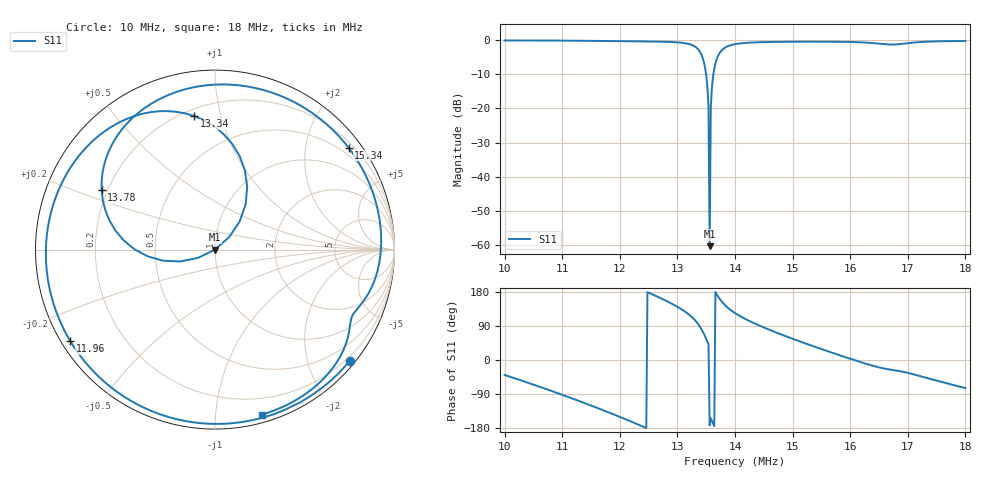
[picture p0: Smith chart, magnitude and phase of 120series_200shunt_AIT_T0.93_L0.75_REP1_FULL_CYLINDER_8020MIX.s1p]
! NanoVNA Web complex sweep
! Processing: original sample grid, no browser smoothing
# Hz S RI R 50
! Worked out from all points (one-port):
!   401 points, 10 MHz to 18 MHz, reference 50 ohm
!   lowest |S11| = -60.2 dB at 13.56 MHz (marker M1), VSWR 1.00, Z = 49.9 - j0.0127 ohm
!   |S11| at or under -10 dB: 13.5 MHz to 13.63 MHz (128.6 kHz wide, 0.948 % of centre)
!   S11 on the Smith chart (normalised r, x): 10 MHz: 0.11, -2.78; 11.96 MHz: 0.03, -0.29; 13.34 MHz: 0.24, +0.83; 13.78 MHz: 0.18, +0.24; 15.34 MHz: 0.32, +2.93; 18 MHz: 0.06, -1.32
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1e7  0.7516 -0.6197
1.056e7  0.3631 -0.9032
1.1e7  -0.0308 -0.9704
1.148e7  -0.4671 -0.8433
1.196e7  -0.8057 -0.5109
1.2e7  -0.826 -0.4752
1.254e7  -0.9368 0.0806
1.3e7  -0.7047 0.5823
1.322e7  -0.3946 0.7591
1.334e7  -0.1146 0.7436
1.342e7  0.096 0.5887
1.348e7  0.1795 0.3485
1.35e7  0.1706 0.2515
1.352e7  0.1368 0.1556
1.356e7  -0.000965 -0.000128
1.36e7  -0.1933 -0.0661
1.362e7  -0.2892 -0.0618
1.364e7  -0.3761 -0.0372
1.37e7  -0.5563 0.1082
1.378e7  -0.6317 0.3318
1.4e7  -0.4788 0.7148
1.444e7  0.0046 0.9194
1.5e7  0.5218 0.7746
1.534e7  0.7439 0.568
1.6e7  0.9255 0.0549
1.644e7  0.8448 -0.2613
1.7e7  0.7383 -0.4972
1.8e7  0.2608 -0.9187
